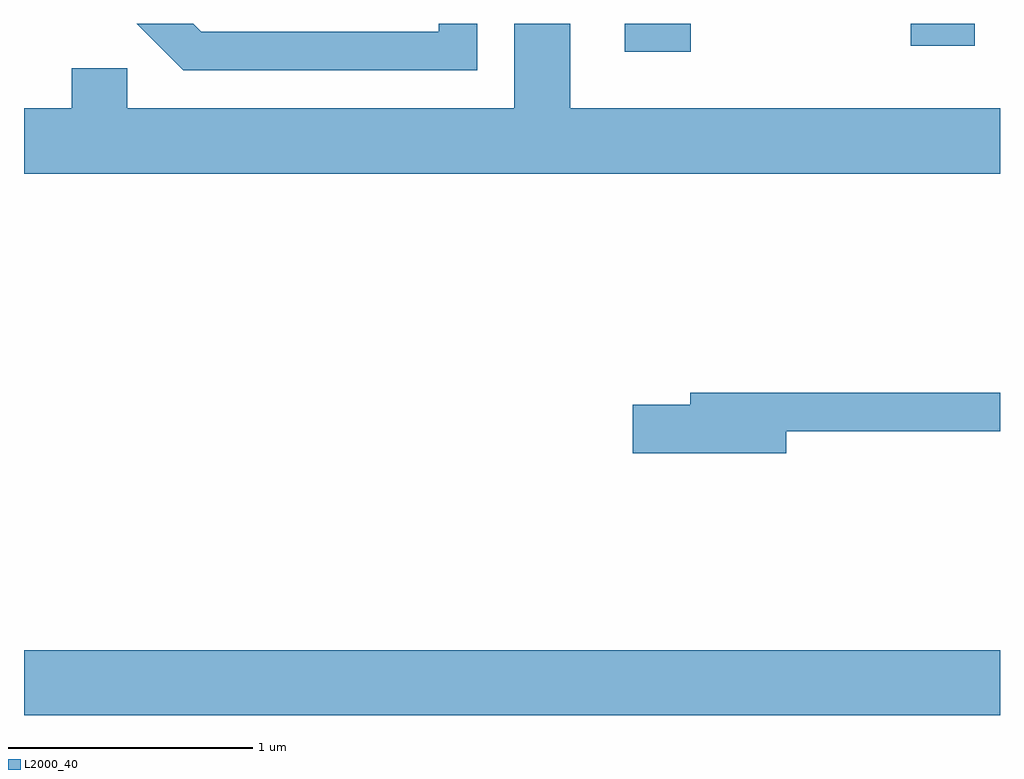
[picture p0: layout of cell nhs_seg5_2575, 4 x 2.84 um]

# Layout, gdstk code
import gdstk
lib = gdstk.Library(unit=1e-6, precision=1e-09)
def R(c, l, rs):  # rectangles x0, y0, x1, y1
    for r in rs: c.add(gdstk.rectangle(r[:2], r[2:], *l))
def P(c, l, *ps):  # polygons
    for p in ps: c.add(gdstk.Polygon(p, *l))
L2000_40 = (2000, 40)

nhs_seg5_2575 = lib.new_cell('nhs_seg5_2575')
R(nhs_seg5_2575, L2000_40, [(261.611,1461.236,265.611,1461.504), (264.073,1463.956,264.344,1464.072), (265.246,1463.981,265.508,1464.072)])
P(nhs_seg5_2575, L2000_40, [(265.611,1463.724),(263.849,1463.724),(263.849,1464.072),(263.621,1464.072),(263.621,1463.724),(262.034,1463.724),(262.034,1463.889),(261.806,1463.889),(261.806,1463.724),(261.611,1463.724),(261.611,1463.456),(265.611,1463.456)],
  [(263.469,1464.072),(263.311,1464.072),(263.311,1464.039),(262.337,1464.039),(262.304,1464.072),(262.073,1464.072),(262.264,1463.881),(263.469,1463.881)],
  [(264.734,1462.401),(265.611,1462.401),(265.611,1462.559),(264.341,1462.559),(264.341,1462.509),(264.106,1462.509),(264.106,1462.311),(264.734,1462.311)])

lib.write_gds('nhs_seg5_2575.gds')
